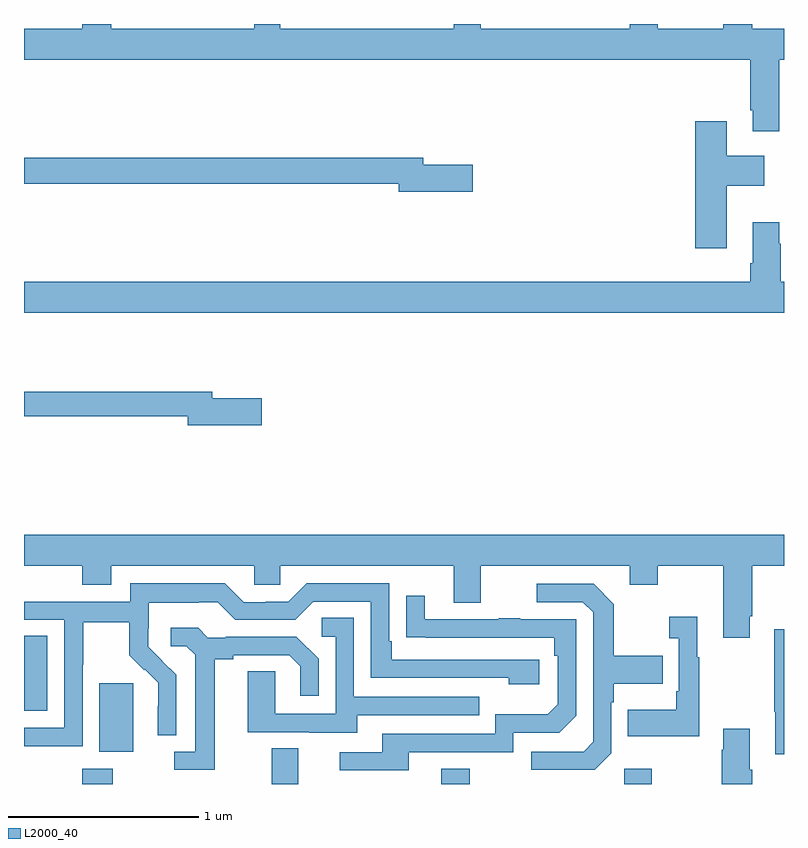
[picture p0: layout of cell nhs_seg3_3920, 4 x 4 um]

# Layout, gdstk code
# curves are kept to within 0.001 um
import gdstk
lib = gdstk.Library(unit=1e-6, precision=1e-09)
def R(c, l, rs):  # rectangles x0, y0, x1, y1
    for r in rs: c.add(gdstk.rectangle(r[:2], r[2:], *l))
def P(c, l, *ps):  # polygons
    for p in ps: c.add(gdstk.Polygon(p, *l))
L2000_40 = (2000, 40)

nhs_seg3_3920 = lib.new_cell('nhs_seg3_3920')
R(nhs_seg3_3920, L2000_40, [(313.307,734.4,313.467,734.479), (314.303,734.4,314.443,734.588), (315.197,734.4,315.345,734.479), (316.158,734.4,316.305,734.479), (313.397,734.57,313.576,734.931), (313,734.786,313.123,735.179)])
P(nhs_seg3_3920, L2000_40, [(316.975,738.212),(317,738.212),(317,738.376),(316.832,738.376),(316.832,738.4),(316.679,738.4),(316.679,738.376),(316.335,738.376),(316.335,738.4),(316.187,738.4),(316.187,738.376),(315.403,738.376),(315.403,738.4),(315.263,738.4),(315.263,738.376),(314.349,738.376),(314.349,738.4),(314.211,738.4),(314.211,738.376),(313.459,738.376),(313.459,738.4),(313.307,738.4),(313.307,738.376),(313,738.376),(313,738.212),(316.823,738.212),(316.823,737.947),(316.835,737.947),(316.835,737.835),(316.975,737.835)],
  [(316.699,737.549),(316.897,737.549),(316.897,737.707),(316.699,737.707),(316.699,737.887),(316.532,737.887),(316.532,737.22),(316.699,737.22)],
  [(315.361,737.66),(315.1,737.66),(315.1,737.696),(313,737.696),(313,737.56),(314.972,737.56),(314.972,737.518),(315.361,737.518)],
  [(317,737.044),(316.983,737.044),(316.983,737.243),(316.975,737.243),(316.975,737.356),(316.835,737.356),(316.835,737.14),(316.823,737.14),(316.823,737.044),(313,737.044),(313,736.88),(317,736.88)],
  [(314.251,736.431),(313.99,736.431),(313.99,736.465),(313,736.465),(313,736.336),(313.862,736.336),(313.862,736.289),(314.251,736.289)],
  [(316.819,735.283),(316.832,735.283),(316.832,735.548),(317,735.548),(317,735.712),(313,735.712),(313,735.548),(313.307,735.548),(313.307,735.449),(313.459,735.449),(313.459,735.548),(314.211,735.548),(314.211,735.45),(314.349,735.45),(314.349,735.548),(315.263,735.548),(315.263,735.354),(315.403,735.354),(315.403,735.548),(316.187,735.548),(316.187,735.449),(316.335,735.449),(316.335,735.548),(316.679,735.548),(316.679,735.171),(316.819,735.171)],
  [(313.308,735.028),(313.311,735.028),(313.311,735.252),(313.555,735.252),(313.555,735.077),(313.632,735),(313.635,735.003),(313.706,734.933),(313.706,734.81),(313.704,734.81),(313.704,734.656),(313.8,734.656),(313.8,734.974),(313.654,735.122),(313.654,735.219),(313.656,735.219),(313.656,735.353),(313.919,735.353),(313.919,735.357),(314.019,735.357),(314.112,735.264),(314.427,735.264),(314.523,735.36),(314.826,735.36),(314.826,734.958),(315.551,734.958),(315.551,734.924),(315.712,734.924),(315.712,735.054),(314.935,735.054),(314.935,735.151),(314.922,735.151),(314.922,735.456),(314.487,735.456),(314.391,735.36),(314.273,735.36),(314.273,735.357),(314.157,735.357),(314.057,735.457),(313.56,735.457),(313.56,735.36),(313,735.36),(313,735.264),(313.212,735.264),(313.212,734.697),(313,734.697),(313,734.599),(313.308,734.599)],
  [(316.092,734.562),(316.092,734.831),(316.105,734.831),(316.105,734.927),(316.361,734.927),(316.361,735.075),(316.105,735.075),(316.105,735.347),(315.999,735.453),(315.699,735.453),(315.699,735.357),(315.942,735.357),(315.996,735.303),(315.996,734.622),(315.945,734.571),(315.669,734.571),(315.669,734.475),(316.005,734.475)],
  [(315.025,734.568),(315.576,734.568),(315.576,734.67),(315.816,734.67),(315.906,734.76),(315.906,735.267),(315.611,735.267),(315.611,735.272),(315.499,735.272),(315.499,735.267),(315.109,735.267),(315.109,735.391),(315.013,735.391),(315.013,735.172),(315.79,735.171),(315.79,735.074),(315.81,735.074),(315.81,734.82),(315.757,734.767),(315.48,734.767),(315.48,734.664),(314.885,734.664),(314.885,734.568),(314.661,734.568),(314.661,734.472),(315.025,734.472)],
  [(316.555,735.067),(316.543,735.067),(316.543,735.28),(316.395,735.28),(316.395,735.167),(316.446,735.167),(316.446,734.887),(316.434,734.887),(316.434,734.791),(316.177,734.791),(316.177,734.651),(316.555,734.651)],
  [(314.755,734.763),(315.395,734.763),(315.395,734.859),(314.736,734.859),(314.736,735.275),(314.568,735.275),(314.568,735.174),(314.64,735.174),(314.64,734.769),(314.322,734.769),(314.322,734.993),(314.177,734.993),(314.177,734.673),(314.501,734.673),(314.501,734.669),(314.755,734.669)],
  [(314.005,735.056),(314.101,735.056),(314.101,735.078),(314.396,735.078),(314.453,735.021),(314.453,734.865),(314.55,734.865),(314.55,735.058),(314.434,735.174),(314.062,735.174),(314.062,735.171),(313.968,735.171),(313.916,735.223),(313.773,735.223),(313.773,735.126),(313.854,735.126),(313.901,735.079),(313.901,734.571),(313.791,734.571),(313.791,734.475),(314.005,734.475)],
  [(317,735.214),(316.948,735.214),(316.948,734.779),(316.955,734.779),(316.955,734.556),(317,734.556)],
  [(316.832,734.476),(316.819,734.476),(316.819,734.692),(316.679,734.692),(316.679,734.579),(316.672,734.579),(316.672,734.4),(316.832,734.4)])

lib.write_gds('nhs_seg3_3920.gds')
